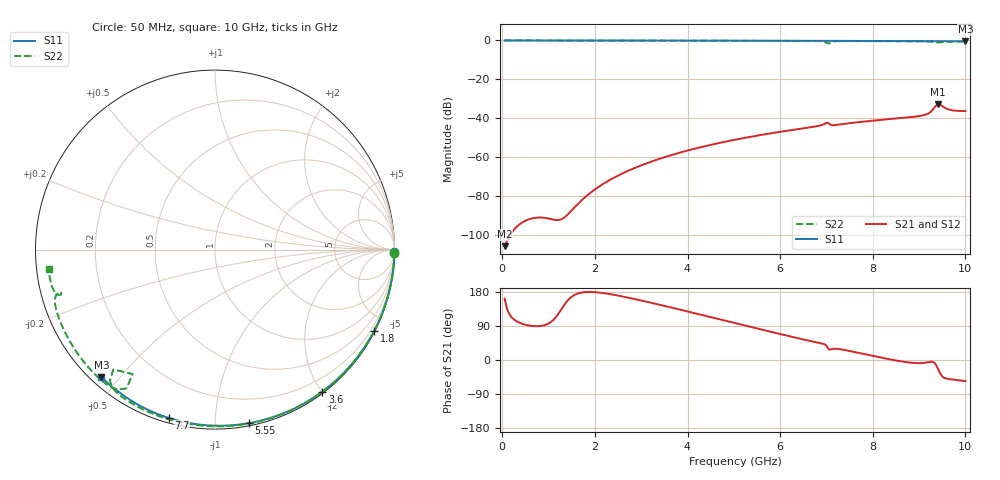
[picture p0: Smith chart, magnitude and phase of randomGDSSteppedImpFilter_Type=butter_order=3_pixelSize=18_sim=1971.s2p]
! freq	dB(S11)	phase(S11)	dB(S12)	phase(S12)
!  dB(S21)	phase(S21)	dB(S22)	phase(S22)
!S-par simulation data
#  GHz  S  DB  R 50
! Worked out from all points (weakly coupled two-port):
!   200 points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, 50 MHz to 10 GHz, reference 50 ohm
!   highest |S21| = -32.73 dB at 9.4 GHz (marker M1); lowest = -105.6 dB at 50 MHz (marker M2)
!   lowest |S11| = -0.4 dB at 10 GHz (marker M3), VSWR 39.51, Z = 1.52 - j22.4 ohm
!   |S11| at or under -10 dB: nowhere
!   |S22| runs from -1.6 to 0.0 dB; largest |S21 - S12| = 0
!   S11 on the Smith chart (normalised r, x): 50 MHz: open; 1.8 GHz: 0.04, -4.16; 3.6 GHz: 0.02, -2.01; 5.55 GHz: 0.02, -1.21; 7.7 GHz: 0.02, -0.76; 10 GHz: 0.03, -0.45
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0.05  -0.00 -0.8  -105.59 161.9  -105.59 161.9  -0.00 -1.0
0.85  -0.02 -12.9  -90.91 90.2  -90.91 90.2  -0.02 -16.9
1.75  -0.03 -26.3  -81.24 178.7  -81.24 178.7  -0.04 -34.5
1.8  -0.03 -27.0  -80.20 179.3  -80.20 179.3  -0.04 -35.4
2.5  -0.05 -37.3  -69.36 170.0  -69.36 170.0  -0.06 -48.7
3.4  -0.07 -50.1  -60.72 145.7  -60.72 145.7  -0.09 -65.2
3.6  -0.07 -52.9  -59.22 139.9  -59.22 139.9  -0.09 -68.8
5.05  -0.11 -72.4  -50.84 96.7  -50.84 96.7  -0.14 -93.9
5.55  -0.13 -78.9  -48.66 81.8  -48.66 81.8  -0.17 -102.3
6.7  -0.18 -93.3  -44.39 48.8  -44.39 48.8  -0.26 -121.9
6.95  -0.19 -96.4  -42.95 42.2  -42.95 42.2  -0.56 -128.7
7  -0.20 -97.0  -42.22 37.8  -42.22 37.8  -1.16 -130.3
7.05  -0.20 -97.6  -42.53 27.7  -42.53 27.7  -1.60 -123.5
7.1  -0.20 -98.2  -43.47 28.1  -43.47 28.1  -0.76 -122.5
7.15  -0.21 -98.8  -43.53 29.7  -43.53 29.7  -0.48 -124.5
7.7  -0.24 -105.3  -41.92 18.6  -41.92 18.6  -0.32 -135.9
8.35  -0.29 -112.9  -40.37 2.1  -40.37 2.1  -0.38 -146.7
9.15  -0.36 -122.1  -37.99 -6.8  -37.99 -6.8  -0.52 -160.8
9.25  -0.37 -123.2  -36.66 -4.6  -36.66 -4.6  -0.61 -162.9
9.4  -0.38 -124.8  -32.73 -21.2  -32.73 -21.2  -1.02 -164.3
9.65  -0.40 -127.8  -35.51 -50.4  -35.51 -50.4  -0.63 -166.8
10  -0.44 -131.8  -36.21 -55.8  -36.21 -55.8  -0.61 -173.4
